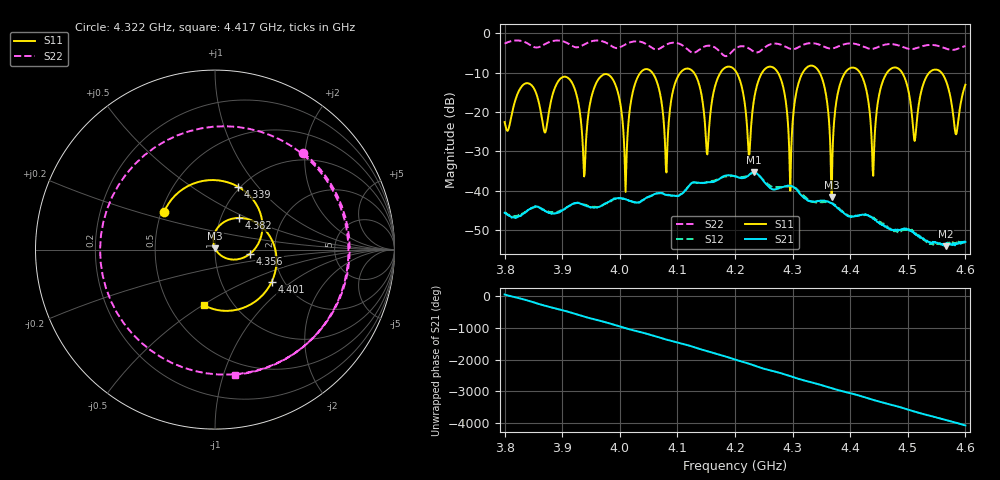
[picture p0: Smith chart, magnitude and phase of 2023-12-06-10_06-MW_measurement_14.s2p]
!Created with skrf (http://scikit-rf.org).
# Hz S RI R 50.0
!freq ReS11 ImS11 ReS21 ImS21 ReS12 ImS12 ReS22 ImS22
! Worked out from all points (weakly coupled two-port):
!   801 points, 3.8 GHz to 4.6 GHz, reference 50 ohm
!   highest |S21| = -35.33 dB at 4.233 GHz (marker M1); lowest = -54.1 dB at 4.566 GHz (marker M2)
!   lowest |S11| = -41.6 dB at 4.368 GHz (marker M3), VSWR 1.02, Z = 50 + j0.832 ohm
!   |S11| at or under -10 dB: start of sweep to 4.036 GHz; 4.056 GHz to 4.105 GHz (48.89 MHz wide, 1.2 % of centre); 4.417 GHz to 4.464 GHz (47.09 MHz wide, 1.06 % of centre) (the widest 3 of 9)
!   |S22| runs from -5.8 to -1.8 dB; largest |S21 - S12| = 0.002
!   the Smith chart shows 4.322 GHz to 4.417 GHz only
!   S11 on the Smith chart (normalised r, x): 4.322 GHz: 0.52, +0.24; 4.339 GHz: 0.97, +0.79; 4.356 GHz: 1.49, -0.07; 4.382 GHz: 1.21, +0.45; 4.401 GHz: 1.73, -0.72; 4.417 GHz: 0.74, -0.51
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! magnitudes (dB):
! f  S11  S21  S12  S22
! 3.8 GHz  -22.6  -45.6  -45.5  -2.7
! 3.905 GHz  -11.0  -44.6  -44.5  -2.2
! 3.934 GHz  -24.6  -43.4  -43.3  -3.2
! 4.067 GHz  -13.6  -40.6  -40.7  -4.0
! 4.152 GHz  -30.8  -37.9  -37.8  -3.2
! 4.2 GHz  -9.4  -36.3  -36.3  -4.0
! 4.233 GHz  -16.9  -35.3  -35.6  -4.7
! 4.272 GHz  -9.4  -39.6  -39.1  -2.6
! 4.296 GHz  -40.0  -38.7  -39.0  -3.9
! 4.322 GHz  -9.1  -42.0  -41.6  -2.7
! 4.334 GHz  -8.2  -42.7  -42.9  -2.5
! 4.339 GHz  -8.6  -42.8  -43.0  -2.6
! 4.356 GHz  -14.1  -42.6  -42.9  -3.5
! 4.368 GHz  -41.6  -43.2  -43.2  -3.9
! 4.382 GHz  -13.2  -44.8  -44.7  -3.2
! 4.401 GHz  -8.8  -46.7  -46.5  -2.6
! 4.417 GHz  -10.0  -46.2  -46.2  -3.0
! 4.44 GHz  -36.2  -47.2  -47.0  -3.9
! 4.467 GHz  -9.5  -49.7  -49.5  -2.7
! 4.512 GHz  -27.4  -51.0  -50.4  -3.9
! 4.566 GHz  -12.0  -54.1  -53.5  -3.9
! 4.6 GHz  -13.1  -53.0  -53.1  -3.2
